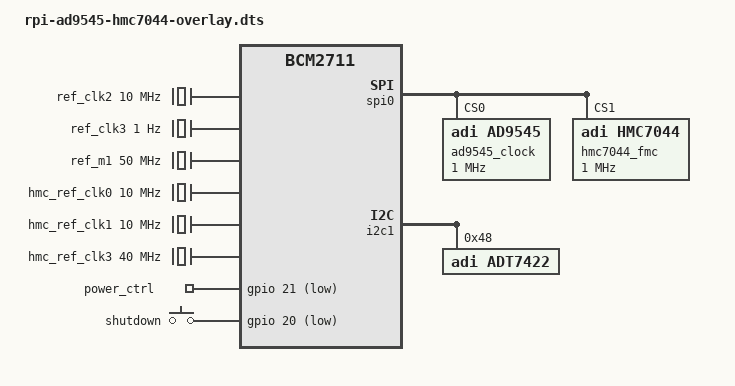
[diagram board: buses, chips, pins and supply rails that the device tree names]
// SPDX-License-Identifier: (GPL-2.0+ OR BSD-3-Clause)
/* Overlay for AD-SYNCHRONA14-EBZ Rev. B
 *
 * Copyright 2021 Analog Devices Inc.
 */

/dts-v1/;
/plugin/;

/ {
	#include <dt-bindings/clock/ad9545.h>
	#include <dt-bindings/iio/frequency/hmc7044.h>
	#include <dt-bindings/gpio/gpio.h>

	compatible = "brcm,bcm2835", "brcm,bcm2709", "brcm,bcm2711";

	fragment@0 {

		target-path = "/";
		__overlay__ {

			ref_clk2: ref_clk_2 {
				compatible = "fixed-clock";
				#clock-cells = <1>;

				clock-frequency  = <10000000>;
				clock-output-names = "Ref-B";
			};

			ref_clk3: ref_clk_3 {
				compatible = "fixed-clock";
				#clock-cells = <1>;

				clock-frequency  = <1>;
				clock-output-names = "Ref-BB";
			};

			ref_m1: ref_m1_clk {
				compatible = "fixed-clock";
				#clock-cells = <1>;

				clock-frequency  = <50000000>;
				clock-output-names = "Ref-M1";
			};

			hmc_ref_clk0: hmc_ref_clk_0 {
				compatible = "fixed-clock";
				#clock-cells = <1>;

				clock-frequency  = <10000000>;
				clock-output-names = "HMC-REF_CLKIN0";
			};

			hmc_ref_clk1: hmc_ref_clk_1 {
				compatible = "fixed-clock";
				#clock-cells = <1>;

				clock-frequency  = <10000000>;
				clock-output-names = "HMC-REF_CLKIN1";
			};

			hmc_ref_clk3: hmc_ref_clk_3 {
				compatible = "fixed-clock";
				#clock-cells = <1>;

				clock-frequency  = <40000000>;
				clock-output-names = "HMC-REF_CLKIN3";
			};
		};
	};

	fragment@1 {
		target = <&spidev0>;
		__overlay__ {
			status = "disabled";
		};
	};

	fragment@2 {
		target = <&spidev1>;
		__overlay__ {
			status = "disabled";
		};
	};

	fragment@3 {
		target = <&spi0>;
		__overlay__ {
			compatible = "brcm,bcm2835-spi";

			#address-cells = <0x1>;
			#size-cells = <0>;
			status = "okay";

			ad9545_clock: ad9545@0 {
				compatible = "adi,ad9545";
				reg = <0>;

				#address-cells = <1>;
				#size-cells = <0>;

				adi,ref-crystal;
				adi,ref-frequency-hz = <49152000>;
				spi-max-frequency = <1000000>;

				clock-names = "Ref-B", "Ref-BB", "Ref-M1";
				clocks = <&ref_clk2 2>, <&ref_clk3 3>, <&ref_m1 1>;

				#clock-cells = <2>;
				assigned-clocks = <&ad9545_clock AD9545_CLK_NCO AD9545_NCO0>,
						  <&ad9545_clock AD9545_CLK_PLL AD9545_PLL0>,
						  <&ad9545_clock AD9545_CLK_PLL AD9545_PLL1>,
						  <&ad9545_clock AD9545_CLK_OUT AD9545_Q0A>,
						  <&ad9545_clock AD9545_CLK_OUT AD9545_Q0B>,
						  <&ad9545_clock AD9545_CLK_OUT AD9545_Q1A>,
						  <&ad9545_clock AD9545_CLK_OUT AD9545_Q1B>,
						  <&ad9545_clock AD9545_CLK_AUX_TDC AD9545_CLK_AUX_TDC0>;
				assigned-clock-rates = <10000>,
						       <1400000000>,
						       <1800000000>,
						       <10000000>,
						       <10000000>,
						       <10000000>,
						       <10000000>,
						       <200000>;
				assigned-clock-nshot = <0>, <0>, <0>, <0>, <0>, <0>, <1>, <0>;

				aux-tdc-clk@0 {
					reg = <0>;
					adi,pin-nr = <1>;
				};

				aux-dpll@0 {
					reg = <0>;
					adi,compensation-source = <4>;
					adi,aux-dpll-bw-mhz = <50000>;
				};

				/* Ref B*/
				ref-input-clk@2 {
					reg = <2>;
					adi,single-ended-mode = <DRIVER_MODE_AC_COUPLED>;
					adi,r-divider-ratio = <50>;
					adi,ref-dtol-pbb = <10000000>;
					adi,ref-monitor-hysteresis-pbb = <87500>;
					adi,ref-validation-timer-ms = <10>;
					adi,freq-lock-threshold-ps = <2000>;
					adi,phase-lock-threshold-ps = <2000>;
					adi,freq-lock-fill-rate = <20>;
					adi,freq-lock-drain-rate = <20>;
					adi,phase-lock-fill-rate = <20>;
					adi,phase-lock-drain-rate = <20>;
				};

				/* Ref BB*/
				ref-input-clk@3 {
					reg = <3>;
					adi,single-ended-mode = <DRIVER_MODE_DC_COUPLED_1V8>;
					adi,r-divider-ratio = <1>;
					adi,ref-dtol-pbb = <100000>;
					adi,ref-monitor-hysteresis-pbb = <12500>;
					adi,ref-validation-timer-ms = <1000>;
					adi,freq-lock-threshold-ps = <2000>;
					adi,phase-lock-threshold-ps = <2000>;
					adi,freq-lock-fill-rate = <100>;
					adi,freq-lock-drain-rate = <10>;
					adi,phase-lock-fill-rate = <100>;
					adi,phase-lock-drain-rate = <10>;
				};

				aux-nco-clk@AD9545_NCO0 {
					reg = <AD9545_NCO0>;
					adi,freq-lock-threshold-ps = <0xFFFFFF>;
					adi,phase-lock-threshold-ps = <0xFFFFFF>;
				};

				ad9545_apll0: pll-clk@AD9545_PLL0 {
					reg = <AD9545_PLL0>;

					#address-cells = <1>;
					#size-cells = <0>;

					/* Uncoment below for Internal Zero-Delay operation: */
					/*
					 * adi,pll-internal-zero-delay-feedback = <AD9545_Q0A>;
					 * adi,pll-internal-zero-delay-feedback-hz = <10000000>;
					 * adi,pll-slew-rate-limit-ps = <4000000000>;
					 */
					profile@0 {
						reg = <0>;
						adi,pll-source = <3>;
						adi,profile-priority = <0>;
						adi,pll-loop-bandwidth-uhz = <50000>;

						adi,fast-acq-excess-bw = <8>;
						adi,fast-acq-timeout-ms = <10000>;
						adi,fast-acq-lock-settle-ms = <1000>;
					};

					profile@1 {
						reg = <1>;
						adi,pll-source = <2>;
						adi,profile-priority = <10>;
						adi,pll-loop-bandwidth-uhz = <200000000>;
					};

				};

				ad9545_apll1: pll-clk@AD9545_PLL1 {
					reg = <AD9545_PLL1>;

					#address-cells = <1>;
					#size-cells = <0>;

					/* Uncoment below for internal zero-delay operation */
					/*
					 * adi,pll-internal-zero-delay-feedback = <AD9545_Q1A>;
					 * adi,pll-internal-zero-delay-feedback-hz = <10000000>;
					 * adi,pll-slew-rate-limit-ps = <4000000000>;
					 */
					profile@0 {
						reg = <0>;
						adi,pll-source = <3>;
						adi,profile-priority = <0>;
						adi,pll-loop-bandwidth-uhz = <50000>;

						adi,fast-acq-excess-bw = <8>;
						adi,fast-acq-timeout-ms = <10000>;
						adi,fast-acq-lock-settle-ms = <1000>;
					};

					profile@1 {
						reg = <1>;
						adi,pll-source = <2>;
						adi,profile-priority = <10>;
						adi,pll-loop-bandwidth-uhz = <200000000>;
					};
				};

				/* Output Q0A CML -> J27 J28 */
				output-clk@AD9545_Q0A {
					reg = <AD9545_Q0A>;
					adi,output-mode = <DRIVER_MODE_SINGLE_DIV_DIF>;
					adi,current-source-microamp = <15000>;
				};

				output-clk@AD9545_Q0B {
					reg = <AD9545_Q0B>;
					adi,output-mode = <DRIVER_MODE_SINGLE_DIV_DIF>;
					adi,current-source-microamp = <15000>;
				};

				/* Output Q1A -> CLK_IN 2 of HMC7044 */
				output-clk@AD9545_Q1A {
					reg = <AD9545_Q1A>;
					adi,output-mode = <DRIVER_MODE_SINGLE_DIV_DIF>;
					adi,current-source-microamp = <15000>;
				};

				/* Output Q1B -> SYNC of HMC7044 */
				output-clk@AD9545_Q1B {
					reg = <AD9545_Q1B>;
					adi,output-mode = <DRIVER_MODE_SINGLE_DIV_DIF>;
					adi,current-source-microamp = <15000>;
				};
			};

			hmc7044_fmc: hmc7044@1 {
				reg = <0x1>;

				#address-cells = <1>;
				#size-cells = <0>;
				#clock-cells = <1>;

				compatible = "adi,hmc7044";
				spi-max-frequency = <1000000>;

				adi,pll1-clkin-frequencies = <10000000 10000000 10000000 40000000>;

				/*
				 *	HMC7044 Input Clocking Priorities:
				 *	CLKIN2 -> CLKIN0 -> CLKIN1 -> CLKIN3
				 *	Where:
				 *		- CLKIN2 - AD9545
				 *		- CLKIN0 - J23/J24
				 *		- CLKIN1 - J25/J26
				 *		- CLKIN3 - 40 MHz or 38.4 MHz TCXO
				 */
				adi,pll1-ref-prio-ctrl = <0xD2>;
				adi,pll1-ref-autorevert-enable;

				adi,pll1-loop-bandwidth-hz = <200>;

				/* All HMC7044 inputs are AC Coupled */
				adi,clkin0-buffer-mode = <0x07>;
				adi,clkin1-buffer-mode  = <0x07>;
				adi,clkin2-buffer-mode  = <0x07>;
				adi,clkin3-buffer-mode  = <0x07>;

				clocks = <&hmc_ref_clk0 0>,
					 <&hmc_ref_clk1 0>,
					 <&ad9545_clock AD9545_CLK_OUT AD9545_Q1A>,
					 <&hmc_ref_clk3 0>,
					 <&ad9545_clock AD9545_CLK_OUT AD9545_Q1B>;
				clock-names = "clkin0", "clkin1", "clkin2", "clkin3", "sync_clk";

				/* depends on VCXO_SELECT_PI */
				adi,vcxo-frequency = <100000000>;
				adi,pll2-output-frequency = <2600000000>;
				adi,sysref-timer-divider = <1024>;
				adi,pulse-generator-mode = <HMC7044_PULSE_GEN_CONT_PULSE>;

				adi,oscin-buffer-mode = <0x15>;
				adi,sync-pin-mode = <HMC7044_SYNC_PIN_SYNC>;

				adi,gpi-controls = <0x00 0x00 0x00 0x00>;
				adi,gpo-controls = <0x1f 0x2b 0x00 0x00>;

				clock-output-names = "HMC7044_OUT0", "HMC7044_OUT1",
						     "HMC7044_OUT2", "HMC7044_OUT3",
						     "HMC7044_OUT4", "HMC7044_OUT5",
						     "HMC7044_OUT6", "HMC7044_OUT7",
						     "HMC7044_OUT8", "HMC7044_OUT9",
						     "HMC7044_OUT10", "HMC7044_OUT11",
						     "HMC7044_OUT12", "HMC7044_OUT13";

				/*
				 * Channels in CMOS mode should configure
				 * adi,driver-impedance-mode to:
				 * 0 - no output
				 * 1 - N output
				 * 2 - P ourput
				 * 3 - both
				 * Depending on the desired output pin.
				 */
				channel@0 {
					reg = <0>;
					adi,extended-name = "HMC7044_OUT0";
					adi,divider = <260>;
					adi,driver-mode = <HMC7044_DRIVER_MODE_LVPECL>;
				};

				channel@1 {
					reg = <1>;
					adi,extended-name = "HMC7044_OUT1";
					adi,divider = <260>;
					adi,driver-mode = <HMC7044_DRIVER_MODE_LVPECL>;
				};

				channel@2 {
					reg = <2>;
					adi,extended-name = "HMC7044_OUT2";
					adi,divider = <260>;
					adi,driver-mode = <HMC7044_DRIVER_MODE_LVPECL>;
				};

				channel@3 {
					reg = <3>;
					adi,extended-name = "HMC7044_OUT3";
					adi,divider = <260>;
					adi,driver-mode = <HMC7044_DRIVER_MODE_LVPECL>;
				};

				channel@4 {
					reg = <4>;
					adi,extended-name = "HMC7044_OUT4";
					adi,divider = <260>;
					adi,driver-mode = <HMC7044_DRIVER_MODE_CMOS>;
					adi,driver-impedance-mode = <3>;
				};

				channel@5 {
					reg = <5>;
					adi,extended-name = "HMC7044_OUT5";
					adi,divider = <260>;
					adi,driver-mode = <HMC7044_DRIVER_MODE_LVPECL>;
				};

				channel@6 {
					reg = <6>;
					adi,extended-name = "HMC7044_OUT6";
					adi,divider = <260>;
					adi,driver-mode = <HMC7044_DRIVER_MODE_CMOS>;
					adi,driver-impedance-mode = <3>;
				};

				channel@7 {
					reg = <7>;
					adi,extended-name = "HMC7044_OUT7";
					adi,divider = <260>;
					adi,driver-mode = <HMC7044_DRIVER_MODE_LVDS>;
				};

				channel@8 {
					reg = <8>;
					adi,extended-name = "HMC7044_OUT8";
					adi,divider = <260>;
					adi,driver-mode = <HMC7044_DRIVER_MODE_LVDS>;
				};

				channel@9 {
					reg = <9>;
					adi,extended-name = "HMC7044_OUT9";
					adi,divider = <260>;
					adi,driver-mode = <HMC7044_DRIVER_MODE_LVDS>;
				};

				channel@10 {
					reg = <10>;
					adi,extended-name = "HMC7044_OUT10";
					adi,divider = <260>;
					adi,driver-mode = <HMC7044_DRIVER_MODE_LVDS>;
				};

				channel@11 {
					reg = <11>;
					adi,extended-name = "HMC7044_OUT11";
					adi,divider = <260>;
					adi,driver-mode = <HMC7044_DRIVER_MODE_CMOS>;
					adi,driver-impedance-mode = <3>;
				};

				channel@12 {
					reg = <12>;
					adi,extended-name = "HMC7044_OUT12";
					adi,divider = <260>;
					adi,driver-mode = <HMC7044_DRIVER_MODE_LVPECL>;
				};

				channel@13 {
					reg = <13>;
					adi,extended-name = "HMC7044_OUT13";
					adi,divider = <260>;
					adi,driver-mode = <HMC7044_DRIVER_MODE_CMOS>;
					adi,driver-impedance-mode = <3>;
				};
			};
		};
	};

	fragment@4 {
		target = <&gpio>;
		__overlay__ {

			gpio_overrides: gpio_overrides {
				/* GPIO_4_HMC7044_CAR - 4
				 * GPIO_1_HMC7044_CAR - 17
				 * GPIO_2_HMC7044_CAR - 27
				 * GPIO_3_HMC7044_CAR - 22
				 * RESETB_AD9545_PI - 25
				 * RESET_HMC7044_CAR_PI - 5
				 * VCXO_SELECT_PI - 6
				 * GPIO19_PI - 19
				 * GPIO26_PI - 26
				 * GPIO23_PI - 16 - SYNC Enable
				 */

				pin-25-reset-high {
					pins = "gpio25";
					function = "gpio_out";
					bias-pull-up;
					output-high;
					export;
				};

				pin-5-reset-low {
					pins = "gpio5";
					function = "gpio_out";
					bias-pull-down;
				};

				pin-6-vcxo-select {
					pins = "gpio6";
					function = "gpio_out";
					/* GPIO 6:
					 * 0 - For the 100 MHz VCXO to HMC7044:
					 * bias-pull-down;
					 *
					 * 1 - For the 122.88 MHz VCXO to HMC7044:
					 * bias-pull-up;
					 * output-high;
					 */

					bias-pull-down;

					export;
				};

				pin-12-red_led {
					pins = "gpio12";
					function = "gpio_out";
					bias-pull-up;
					output-high;
					export;
				};

				pin-16-sync-en {
					pins = "gpio23";
					function = "gpio_out";
					bias-pull-down;
					export;
				};
			};
		};
	};

	fragment@5 {
		target-path = "/";
		__overlay__ {
			power_ctrl: power_ctrl {
				compatible = "gpio-poweroff";
				gpios = <&gpio 21 (GPIO_ACTIVE_LOW | GPIO_PULL_UP)>;
				input;
				force;
			};
		};
	};

	fragment@6 {
		target-path = "/soc";
		__overlay__ {
			shutdown_button: shutdown_button@3 {
				compatible = "gpio-keys";
				status = "okay";

				button: shutdown {
					label = "shutdown";
					linux,code = <116>; /* KEY_POWER */
					gpios = <&gpio 20 (GPIO_ACTIVE_LOW | GPIO_PULL_UP)>;
					debounce-interval = <100>;
				};
			};
		};
	};

	fragment@7 {
		target = <&gpio>;
		__overlay__ {
			pinctrl-names = "default";
			pinctrl-0 = <&gpio_overrides>;
		};
	};

	fragment@8 {
		target = <&i2c1>;
		__overlay__ {
			compatible = "brcm,bcm2711-i2c";
			status = "okay";

			#address-cells = <1>;
			#size-cells = <0>;

			/* Temperature sensor that monitors HMC7044 */
			adt7422@48 {
				compatible = "adi,adt7422";
				reg = <0x48>;
			};
		};
	};
};
